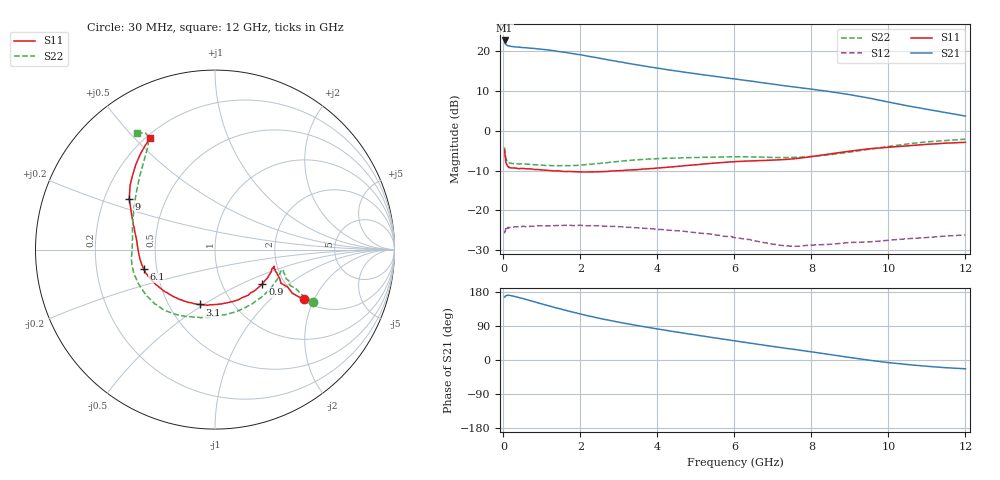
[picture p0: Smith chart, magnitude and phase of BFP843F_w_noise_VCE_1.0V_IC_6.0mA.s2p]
! Infineon Technologies  Discrete & RF Semiconductors
! BFP843F
! VCE =  1.0 V,  IC =  6.0 mA
! Common Emitter S-Parameters:  Aug 2013
# GHz  S  MA  R  50
!  f  S11  S21  S12  S22
! GHz  MAG  ANG  MAG  ANG  MAG  ANG  MAG  ANG
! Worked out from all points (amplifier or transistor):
!   103 points, 30 MHz to 12 GHz, reference 50 ohm
!   highest |S21| = 22.7 dB at 30 MHz (marker M1)
!   |S21| within 3 dB of that: start of sweep to 1.616 GHz
!   unconditionally stable (mu >= 1): 205.5 MHz to 491.1 MHz; 3.591 GHz to end of sweep
!   at 400 MHz: K = 1.00, MAG = 22.2 dB, |S12| = -24.1 dB
!   at 3.7 GHz: K = 1.01, MAG = 19.7 dB, |S12| = -24.5 dB
!   at 12 GHz: K = 1.49, MAG = 10.8 dB, |S12| = -26.2 dB
!   lowest NFmin = 0.80 dB at 450 MHz
!   S11 on the Smith chart (normalised r, x): 30 MHz: 2.04, -1.67; 900 MHz: 1.55, -0.66; 3.1 GHz: 0.71, -0.48; 6.1 GHz: 0.42, -0.11; 9 GHz: 0.31, +0.25; 12 GHz: 0.22, +0.55
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0.03  0.5674 -29.3  13.66 165.9  0.0514 31.8  0.618 -28.0
0.04  0.4937 -29.5  12.97 166.5  0.0548 25.7  0.5411 -27.4
0.05  0.4564 -27.3  12.43 168.8  0.055 25.2  0.4975 -25.6
0.07  0.3952 -24.1  12.04 169.9  0.0598 16.7  0.4464 -22.9
0.11  0.3589 -20.0  11.77 170.8  0.0602 11.1  0.408 -18.9
0.15  0.348 -17.5  11.64 170.7  0.0607 6.9  0.3943 -16.9
0.6  0.3331 -25.4  11.05 159.4  0.0624 1.9  0.381 -29.1
0.9  0.3261 -35.9  10.7 150.7  0.0639 0.1  0.3726 -41.8
1.3  0.3124 -50.4  10.17 139.4  0.0642 -1.8  0.3643 -59.5
1.6  0.3073 -61.1  9.705 131.4  0.0648 -3.4  0.3649 -72.4
2.1  0.304 -77.9  8.844 118.9  0.0639 -6.8  0.3739 -92.1
2.6  0.3073 -92.2  8.001 107.7  0.0634 -9.3  0.395 -107.5
3.1  0.3166 -105.3  7.254 97.8  0.0621 -11.8  0.4176 -119.3
3.5  0.3253 -114.7  6.725 90.5  0.0603 -13.1  0.4331 -127.0
4.1  0.3434 -127.9  6.037 80.3  0.0575 -15.8  0.4476 -136.6
5.1  0.3777 -147.7  5.134 64.4  0.0519 -18.6  0.462 -151.3
6.1  0.4125 -164.6  4.421 49.1  0.045 -19.0  0.4707 -165.6
7  0.4284 -179.6  3.861 35.7  0.0375 -14.3  0.4622 -178.6
8.5  0.5132 155.6  3.1 14.1  0.0375 3.8  0.5017 154.6
9  0.5554 149.3  2.843 6.7  0.0395 6.4  0.5399 144.5
10.5  0.6476 132.9  2.059 -12.0  0.0441 13.6  0.6841 123.1
12  0.7171 120.2  1.533 -23.2  0.0491 18.9  0.7838 123.8
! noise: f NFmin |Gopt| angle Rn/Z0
0.45  0.8  0.11  13  0.05
0.9  0.82  0.12  23  0.06
1.5  0.87  0.12  32  0.06
1.9  0.92  0.12  47  0.06
2.4  0.96  0.13  61  0.07
3.5  1.03  0.14  93  0.12
5.5  1.14  0.16  159  0.17
10  1.81  0.38  -122  0.23
